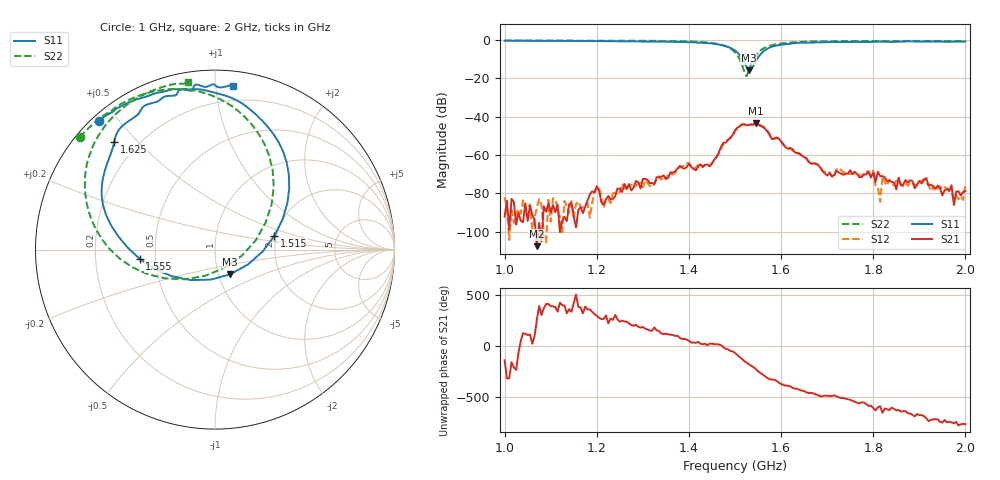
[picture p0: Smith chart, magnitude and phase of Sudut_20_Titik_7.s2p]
# Hz S RI R 50
! CMT, C1220, 16058040, 17.2.0/1
! Date: 14/08/2018 12:12:01
! Data: Format (Calibration Info)
! Freq  S11: Re/Im (F2)  S21: Re/Im (F2)  S12: Re/Im (F2)  S22: Re/Im (F2)
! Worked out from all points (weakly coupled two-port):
!   201 points, 1 GHz to 2 GHz, reference 50 ohm
!   highest |S21| = -43.25 dB at 1.545 GHz (marker M1); lowest = -107.6 dB at 1.07 GHz (marker M2)
!   lowest |S11| = -15.8 dB at 1.53 GHz (marker M3), VSWR 1.39, Z = 56.9 - j16.1 ohm
!   |S11| at or under -10 dB: 1.517 GHz to 1.547 GHz (30.96 MHz wide, 2.02 % of centre)
!   |S22| runs from -18.8 to -0.2 dB; largest |S21 - S12| = 0.00034
!   S11 on the Smith chart (normalised r, x): 1 GHz: 0.02, +0.44; 1.515 GHz: 1.95, +0.34; 1.555 GHz: 0.41, -0.05; 1.625 GHz: 0.12, +0.43; 2 GHz: 0.10, +1.11
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1e9  -0.6451 0.7145  -1.96e-05 -1.51e-05  5.59e-05 -5.57e-05  -0.7534 0.6252
1.07e9  -0.5711 0.7672  -1.14e-06 -4.02e-06  1.32e-05 4.07e-05  -0.7042 0.6772
1.17e9  -0.4745 0.822  2.2e-05 -2.09e-05  1.04e-05 4.14e-05  -0.6163 0.7509
1.32e9  -0.234 0.8933  -0.000156 0.000102  -0.000115 8.75e-05  -0.4292 0.8555
1.335e9  -0.2146 0.8931  -0.000209 0.000157  -0.000205 0.000191  -0.4 0.8655
1.445e9  0.1548 0.8116  0.000479 0.000173  0.000512 5.53e-05  -0.00762 0.8544
1.5e9  0.4136 0.3413  0.00143 -0.00422  0.00127 -0.00394  0.3273 0.3497
1.515e9  0.3312 0.0769  -0.00393 -0.00491  -0.00377 -0.00507  0.2279 0.0533
1.53e9  0.085 -0.1375  -0.00608 1.25e-05  -0.00618 -1.64e-05  -0.0542 -0.1458
1.545e9  -0.2411 -0.148  -0.00458 0.00514  -0.00463 0.00498  -0.3745 -0.1375
1.555e9  -0.4205 -0.0511  -0.000307 0.00576  -0.000608 0.00592  -0.5307 -0.0505
1.625e9  -0.5616 0.599  0.000858 -0.00112  0.00083 -0.00102  -0.701 0.5213
1.67e9  -0.441 0.7433  -0.000165 -0.000573  -0.000156 -0.000606  -0.6249 0.6728
1.715e9  -0.3592 0.8141  -0.000166 -0.000242  -0.000147 -0.00022  -0.5503 0.7576
1.8e9  -0.2041 0.8823  -0.000124 0.000328  2.41e-05 0.000395  -0.4239 0.8493
1.815e9  -0.1829 0.8944  -0.000171 0.000225  -5.23e-05 2.99e-05  -0.4029 0.8611
1.82e9  -0.1726 0.8936  0.000128 0.000251  -0.000174 0.000216  -0.3959 0.8642
1.835e9  -0.1403 0.8855  -1.41e-06 0.000216  3.91e-05 0.000223  -0.3761 0.8741
1.89e9  -0.0734 0.9104  0.00012 6.33e-05  9.4e-05 0.000139  -0.2979 0.9044
1.915e9  -0.0263 0.9153  0.000248 4.59e-05  0.000187 8.75e-06  -0.2644 0.9146
1.975e9  0.0651 0.9097  3.82e-05 -3.14e-05  2.04e-05 -6.71e-05  -0.1793 0.9239
2e9  0.0981 0.9106  7.65e-05 -8.48e-05  0.000127 -0.000105  -0.1518 0.933
